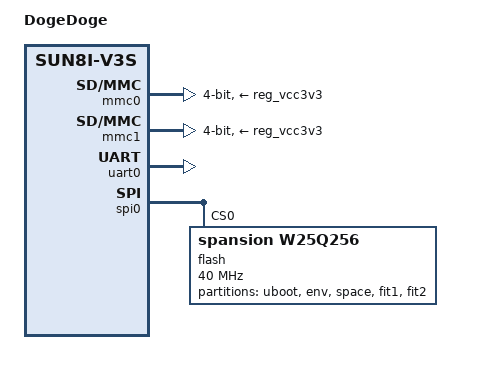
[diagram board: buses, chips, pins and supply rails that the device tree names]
/dts-v1/;
#include "sun8i-v3s.dtsi"
#include "sunxi-common-regulators.dtsi"

/ {
	model = "DogeDoge";
	compatible = "dogedoge", "allwinner,sun8i-v3s";

	aliases {
		serial0 = &uart0;
	};

	chosen {
		stdout-path = "serial0:115200n8";
	};
};

&mmc0 {
	pinctrl-0 = <&mmc0_pins_a>;
	pinctrl-names = "default";
	broken-cd;
	bus-width = <4>;
	vmmc-supply = <&reg_vcc3v3>;
	status = "okay";
};

&mmc1 {
        broken-cd;
        bus-width = <4>;
        vmmc-supply = <&reg_vcc3v3>;
        status = "okay";
};

&uart0 {
	pinctrl-0 = <&uart0_pins_a>;
	pinctrl-names = "default";
	status = "okay";
};

&spi0 {
	status = "okay";
	flash: w25q256@0 {
		#address-cells = <1>;
		#size-cells = <1>;
		compatible = "spansion,w25q256", "jedec,spi-nor";
		reg = <0>;
		spi-max-frequency = <40000000>;
		partitions {
			compatible = "fixed-partitions";
			#address-cells = <1>;
			#size-cells = <1>;
			partition@0 {
				label = "uboot";
				reg = <0x0 0x80000>; // 512K
			};

			partition@1 {
				label = "env";
				reg = <0x80000 0x10000>; //64K
			};

			partition@2 {
				label = "space";
				reg = <0x90000 0x370000>; //3520K
			};

			partition@3 {
				label = "fit1";
				reg = <0x400000 0xE00000>; //14MB
			};

			partition@4 {
				label = "fit2";
				reg = <0x1200000 0xE00000>; //14MB
			};
		};
	};
};
